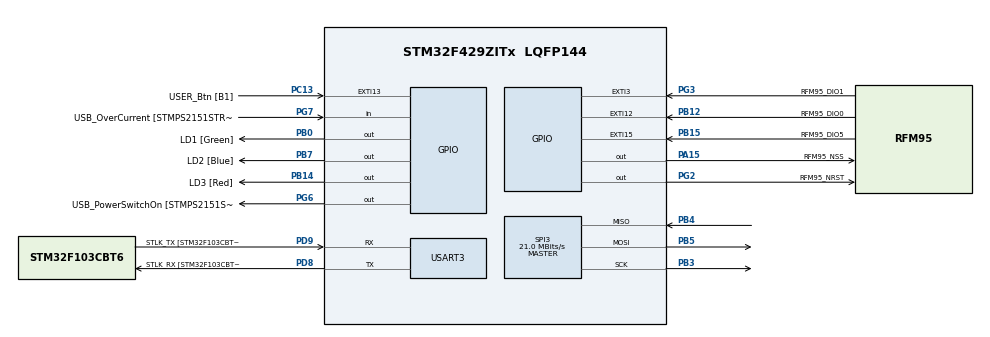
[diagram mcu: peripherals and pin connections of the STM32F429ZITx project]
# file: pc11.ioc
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Mcu.Family=STM32F4
Mcu.Name=STM32F429ZITx
Mcu.Package=LQFP144
NVIC.EXTI15_10_IRQn=true\:0\:0\:false\:false\:true\:true\:true\:true
NVIC.EXTI3_IRQn=true\:0\:0\:false\:false\:true\:true\:true\:true
NVIC.PriorityGroup=NVIC_PRIORITYGROUP_4
PA1.GPIO_Label=RMII_REF_CLK [LAN8742A-CZ-TR_REFCLK0]
PA1.Signal=ETH_REF_CLK
PA10.GPIO_Label=USB_ID
PA10.Signal=USB_OTG_FS_ID
PA11.GPIO_Label=USB_DM
PA11.Signal=USB_OTG_FS_DM
PA12.GPIO_Label=USB_DP
PA12.Signal=USB_OTG_FS_DP
PA13.GPIO_Label=TMS
PA13.Mode=Serial_Wire
PA13.Signal=SYS_JTMS-SWDIO
PA14.GPIO_Label=TCK
PA14.Mode=Serial_Wire
PA14.Signal=SYS_JTCK-SWCLK
PA15.GPIO_Label=RFM95_NSS
PA15.Signal=GPIO_Output
PA2.GPIO_Label=RMII_MDIO [LAN8742A-CZ-TR_MDIO]
PA2.Signal=ETH_MDIO
PA7.GPIO_Label=RMII_CRS_DV [LAN8742A-CZ-TR_CRS_DV]
PA7.Signal=ETH_CRS_DV
PA8.GPIO_Label=USB_SOF [TP1]
PA8.Signal=USB_OTG_FS_SOF
PA9.GPIO_Label=USB_VBUS
PA9.Signal=USB_OTG_FS_VBUS
PB0.GPIO_Label=LD1 [Green]
PB0.Signal=GPIO_Output
PB12.GPIO_Label=RFM95_DIO0 
PB12.Signal=GPXTI12
PB13.GPIO_Label=RMII_TXD1 [LAN8742A-CZ-TR_TXD1]
PB13.Signal=ETH_TXD1
PB14.GPIO_Label=LD3 [Red]
PB14.Signal=GPIO_Output
PB15.GPIO_Label=RFM95_DIO5
PB15.Signal=GPXTI15
PB3.Mode=Full_Duplex_Master
PB3.Signal=SPI3_SCK
PB4.Mode=Full_Duplex_Master
PB4.Signal=SPI3_MISO
PB5.Mode=Full_Duplex_Master
PB5.Signal=SPI3_MOSI
PB7.GPIO_Label=LD2 [Blue]
PB7.Signal=GPIO_Output
PC1.GPIO_Label=RMII_MDC [LAN8742A-CZ-TR_MDC]
PC1.Signal=ETH_MDC
PC13.GPIO_Label=USER_Btn [B1]
PC13.Signal=GPXTI13
PC14/OSC32_IN.Mode=LSE-External-Oscillator
PC14/OSC32_IN.Signal=RCC_OSC32_IN
PC15/OSC32_OUT.Mode=LSE-External-Oscillator
PC15/OSC32_OUT.Signal=RCC_OSC32_OUT
PC4.GPIO_Label=RMII_RXD0 [LAN8742A-CZ-TR_RXD0]
PC4.Signal=ETH_RXD0
PC5.GPIO_Label=RMII_RXD1 [LAN8742A-CZ-TR_RXD1]
PC5.Signal=ETH_RXD1
PD8.GPIO_Label=STLK_RX [STM32F103CBT6_PA3]
PD8.Mode=Asynchronous
PD8.Signal=USART3_TX
PD9.GPIO_Label=STLK_TX [STM32F103CBT6_PA2]
PD9.Mode=Asynchronous
PD9.Signal=USART3_RX
PG11.GPIO_Label=RMII_TX_EN [LAN8742A-CZ-TR_TXEN]
PG11.Signal=ETH_TX_EN
PG13.GPIO_Label=RMII_TXD0 [LAN8742A-CZ-TR_TXD0]
PG13.Signal=ETH_TXD0
PG2.GPIO_Label=RFM95_NRST
PG2.Signal=GPIO_Output
PG3.GPIO_Label=RFM95_DIO1 
PG3.Signal=GPXTI3
PG6.GPIO_Label=USB_PowerSwitchOn [STMPS2151STR_EN]
PG6.Signal=GPIO_Output
PG7.GPIO_Label=USB_OverCurrent [STMPS2151STR_FAULT]
PG7.Signal=GPIO_Input
PH0/OSC_IN.GPIO_Label=MCO [STM32F103CBT6_PA8]
PH0/OSC_IN.Mode=HSE-External-Clock-Source
PH0/OSC_IN.Signal=RCC_OSC_IN
PH1/OSC_OUT.Mode=HSE-External-Clock-Source
PH1/OSC_OUT.Signal=RCC_OSC_OUT
ProjectManager.HeapSize=0x200
ProjectManager.StackSize=0x400
ProjectManager.TargetToolchain=STM32CubeIDE
RCC.48MHZClocksFreq_Value=48000000
RCC.AHBFreq_Value=168000000
RCC.APB1CLKDivider=RCC_HCLK_DIV4
RCC.APB1Freq_Value=42000000
RCC.APB1TimFreq_Value=84000000
RCC.APB2CLKDivider=RCC_HCLK_DIV2
RCC.APB2Freq_Value=84000000
RCC.APB2TimCLKDivider=2
RCC.APB2TimFreq_Value=168000000
RCC.CortexFreq_Value=168000000
RCC.HCLKFreq_Value=168000000
RCC.HSE_VALUE=8000000
RCC.HSI_VALUE=16000000
RCC.PLLM=4
RCC.PLLMUL=RCC_PLL_MUL9
RCC.PLLN=168
RCC.PLLQ=7
RCC.PLLSourceVirtual=RCC_PLLSOURCE_HSE
RCC.PRESCALERUSB=RCC_USBCLKSOURCE_PLL_DIV1_5
RCC.SYSCLKFreq_VALUE=168000000
RCC.SYSCLKSource=RCC_SYSCLKSOURCE_PLLCLK
RCC.SYSCLKSourceVirtual=RCC_SYSCLKSOURCE_PLLCLK
RCC.USBFreq_Value=48000000
RCC.VCOOutputFreq_Value=336000000
SPI3.CalculateBaudRate=21.0 MBits/s
SPI3.Direction=SPI_DIRECTION_2LINES
SPI3.Mode=SPI_MODE_MASTER
SPI3.VirtualType=VM_MASTER
TIM2.Prescaler=4199
USART3.VirtualMode=VM_ASYNC
VP_RNG_VS_RNG.Mode=RNG_Activate
VP_TIM2_VS_ClockSourceINT.Mode=Internal
board=NUCLEO-F429ZI

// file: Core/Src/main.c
/* USER CODE BEGIN Header */
/**
 ******************************************************************************
 * @file           : main.c
 * @brief          : Main program body
 ******************************************************************************
 * @attention
 *
 * Copyright (c) 2025 STMicroelectronics.
 * All rights reserved.
 *
 * This software is licensed under terms that can be found in the LICENSE file
 * in the root directory of this software component.
 * If no LICENSE file comes with this software, it is provided AS-IS.
 *
 ******************************************************************************
 */
/* USER CODE END Header */
#include "main.h"

/* USER CODE BEGIN Includes */
#include "stdio.h"
#include "string.h"
#include <rfm95.h>
/* USER CODE END Includes */

RNG_HandleTypeDef hrng;

SPI_HandleTypeDef hspi3;

TIM_HandleTypeDef htim2;

UART_HandleTypeDef huart3;

void SystemClock_Config(void);
static void MX_GPIO_Init(void);
static void MX_USART3_UART_Init(void);
static void MX_RNG_Init(void);
static void MX_SPI3_Init(void);
static void MX_TIM2_Init(void);

/* USER CODE BEGIN 0 */

static uint32_t get_precision_tick()
{
	__disable_irq();
	uint32_t precision_tick = __HAL_TIM_GET_COUNTER(&htim2);
	__enable_irq();
	return precision_tick;
}

static void precision_sleep_until(uint32_t target_ticks)
{
	while (get_precision_tick() < target_ticks) { /* do nothing */ }
}

static uint8_t random_int(uint8_t max)
{
	uint32_t rng;
	HAL_RNG_GenerateRandomNumber(&hrng, &rng);
	return (rng % (max + 1));
}
rfm95_handle_t rfm95_handle = {
		.spi_handle = &hspi3,
		.nss_port = RFM95_NSS_GPIO_Port,
		.nss_pin = RFM95_NSS_Pin,
		.device_address = {
				0x26, 0x0B, 0x04, 0x75
		},
		.application_session_key = {
				0x40, 0x0A, 0xE6, 0x65, 0x1A, 0xA8, 0x92, 0x92,	0x12, 0xC0, 0x08, 0xEC, 0xC2, 0xC1, 0x53, 0x72
		},
		.network_session_key = {
				0x80, 0x70, 0x52, 0xDA, 0x22, 0x5F, 0x54, 0xC3, 0xB8, 0xDC, 0xAD, 0xA1, 0x8A, 0xF2, 0x85, 0x34
		},
		.receive_mode = RFM95_RECEIVE_MODE_NONE,
		.precision_tick_frequency = 20000,

		.get_precision_tick = get_precision_tick,
		.precision_sleep_until = precision_sleep_until,
		.random_int = random_int
};
void HAL_GPIO_EXTI_Callback(uint16_t GPIO_Pin)
{
	if (GPIO_Pin == RFM95_DIO0_Pin) {
		rfm95_on_interrupt(&rfm95_handle, RFM95_INTERRUPT_DIO0);
	} else if (GPIO_Pin == RFM95_DIO1_Pin) {
		rfm95_on_interrupt(&rfm95_handle, RFM95_INTERRUPT_DIO1);
	} else if (GPIO_Pin == RFM95_DIO5_Pin) {
		rfm95_on_interrupt(&rfm95_handle, RFM95_INTERRUPT_DIO5);
	}
}
void send(uint8_t *buffer)
{
	HAL_GPIO_WritePin(LD2_GPIO_Port, LD2_Pin, 1);
	rfm95_send_receive_cycle(&rfm95_handle, (uint8_t*)buffer, strlen(buffer));
	HAL_GPIO_WritePin(LD2_GPIO_Port, LD2_Pin, 0);

}

/* USER CODE END 0 */

int main(void)
{

	/* MCU Configuration--------------------------------------------------------*/

	/* Reset of all peripherals, Initializes the Flash interface and the Systick. */
	HAL_Init();

	/* Configure the system clock */
	SystemClock_Config();

	/* Initialize all configured peripherals */
	MX_GPIO_Init();
	MX_USART3_UART_Init();
	MX_RNG_Init();
	MX_SPI3_Init();
	MX_TIM2_Init();
	/* USER CODE BEGIN 2 */
	HAL_TIM_Base_Start(&htim2);
	if(rfm95_init(&rfm95_handle))
	{
		HAL_GPIO_WritePin(LD1_GPIO_Port, LD1_Pin, 1);

	}else{
		HAL_GPIO_WritePin(LD3_GPIO_Port, LD3_Pin, 1);
	while (1); /*loop*/
	}

		static uint16_t lastTimer = 0;
		uint16_t counter = 0;
		static uint16_t buttonTimer=0;
		char msg[30];
		char buffer[30];
		/* USER CODE END 2 */

		/* Infinite loop */
		while (1)
		{

			/* USER CODE BEGIN 3 */

			if( HAL_GPIO_ReadPin(USER_Btn_GPIO_Port,USER_Btn_Pin)&&(HAL_GetTick() - buttonTimer) > 1000)
			{
				sprintf(buffer,"246781; press");
				send(buffer);
				buttonTimer=HAL_GetTick();
			}

			if ((HAL_GetTick() - lastTimer) > 30000)
			{
				counter++;

				sprintf(msg,"246781;%i",counter);
				memcpy(buffer, msg, sizeof(msg));

				send(buffer);
				lastTimer = HAL_GetTick();
			}

		}
		/* USER CODE END 3 */
	}

	/**
	 * @brief System Clock Configuration
	 * @retval None
	 */
	void SystemClock_Config(void)
	{
		RCC_OscInitTypeDef RCC_OscInitStruct = {0};
		RCC_ClkInitTypeDef RCC_ClkInitStruct = {0};

		/** Configure the main internal regulator output voltage
		 */
		__HAL_RCC_PWR_CLK_ENABLE();
		__HAL_PWR_VOLTAGESCALING_CONFIG(PWR_REGULATOR_VOLTAGE_SCALE1);

		/** Initializes the RCC Oscillators according to the specified parameters
		 * in the RCC_OscInitTypeDef structure.
		 */
		RCC_OscInitStruct.OscillatorType = RCC_OSCILLATORTYPE_HSE;
		RCC_OscInitStruct.HSEState = RCC_HSE_BYPASS;
		RCC_OscInitStruct.PLL.PLLState = RCC_PLL_ON;
		RCC_OscInitStruct.PLL.PLLSource = RCC_PLLSOURCE_HSE;
		RCC_OscInitStruct.PLL.PLLM = 4;
		RCC_OscInitStruct.PLL.PLLN = 168;
		RCC_OscInitStruct.PLL.PLLP = RCC_PLLP_DIV2;
		RCC_OscInitStruct.PLL.PLLQ = 7;
		if (HAL_RCC_OscConfig(&RCC_OscInitStruct) != HAL_OK)
		{
			Error_Handler();
		}

		/** Initializes the CPU, AHB and APB buses clocks
		 */
		RCC_ClkInitStruct.ClockType = RCC_CLOCKTYPE_HCLK|RCC_CLOCKTYPE_SYSCLK
				|RCC_CLOCKTYPE_PCLK1|RCC_CLOCKTYPE_PCLK2;
		RCC_ClkInitStruct.SYSCLKSource = RCC_SYSCLKSOURCE_PLLCLK;
		RCC_ClkInitStruct.AHBCLKDivider = RCC_SYSCLK_DIV1;
		RCC_ClkInitStruct.APB1CLKDivider = RCC_HCLK_DIV4;
		RCC_ClkInitStruct.APB2CLKDivider = RCC_HCLK_DIV2;

		if (HAL_RCC_ClockConfig(&RCC_ClkInitStruct, FLASH_LATENCY_5) != HAL_OK)
		{
			Error_Handler();
		}
	}

	/**
	 * @brief RNG Initialization Function
	 * @param None
	 * @retval None
	 */
	static void MX_RNG_Init(void)
	{

		hrng.Instance = RNG;
		if (HAL_RNG_Init(&hrng) != HAL_OK)
		{
			Error_Handler();
		}

	}

	/**
	 * @brief SPI3 Initialization Function
	 * @param None
	 * @retval None
	 */
	static void MX_SPI3_Init(void)
	{

		/* SPI3 parameter configuration*/
		hspi3.Instance = SPI3;
		hspi3.Init.Mode = SPI_MODE_MASTER;
		hspi3.Init.Direction = SPI_DIRECTION_2LINES;
		hspi3.Init.DataSize = SPI_DATASIZE_8BIT;
		hspi3.Init.CLKPolarity = SPI_POLARITY_LOW;
		hspi3.Init.CLKPhase = SPI_PHASE_1EDGE;
		hspi3.Init.NSS = SPI_NSS_SOFT;
		hspi3.Init.BaudRatePrescaler = SPI_BAUDRATEPRESCALER_2;
		hspi3.Init.FirstBit = SPI_FIRSTBIT_MSB;
		hspi3.Init.TIMode = SPI_TIMODE_DISABLE;
		hspi3.Init.CRCCalculation = SPI_CRCCALCULATION_DISABLE;
		hspi3.Init.CRCPolynomial = 10;
		if (HAL_SPI_Init(&hspi3) != HAL_OK)
		{
			Error_Handler();
		}

	}

	/**
	 * @brief TIM2 Initialization Function
	 * @param None
	 * @retval None
	 */
	static void MX_TIM2_Init(void)
	{

		TIM_ClockConfigTypeDef sClockSourceConfig = {0};
		TIM_MasterConfigTypeDef sMasterConfig = {0};

		htim2.Instance = TIM2;
		htim2.Init.Prescaler = 4199;
		htim2.Init.CounterMode = TIM_COUNTERMODE_UP;
		htim2.Init.Period = 4294967295;
		htim2.Init.ClockDivision = TIM_CLOCKDIVISION_DIV1;
		htim2.Init.AutoReloadPreload = TIM_AUTORELOAD_PRELOAD_DISABLE;
		if (HAL_TIM_Base_Init(&htim2) != HAL_OK)
		{
			Error_Handler();
		}
		sClockSourceConfig.ClockSource = TIM_CLOCKSOURCE_INTERNAL;
		if (HAL_TIM_ConfigClockSource(&htim2, &sClockSourceConfig) != HAL_OK)
		{
			Error_Handler();
		}
		sMasterConfig.MasterOutputTrigger = TIM_TRGO_RESET;
		sMasterConfig.MasterSlaveMode = TIM_MASTERSLAVEMODE_DISABLE;
		if (HAL_TIMEx_MasterConfigSynchronization(&htim2, &sMasterConfig) != HAL_OK)
		{
			Error_Handler();
		}

	}

	/**
	 * @brief USART3 Initialization Function
	 * @param None
	 * @retval None
	 */
	static void MX_USART3_UART_Init(void)
	{

		huart3.Instance = USART3;
		huart3.Init.BaudRate = 115200;
		huart3.Init.WordLength = UART_WORDLENGTH_8B;
		huart3.Init.StopBits = UART_STOPBITS_1;
		huart3.Init.Parity = UART_PARITY_NONE;
		huart3.Init.Mode = UART_MODE_TX_RX;
		huart3.Init.HwFlowCtl = UART_HWCONTROL_NONE;
		huart3.Init.OverSampling = UART_OVERSAMPLING_16;
		if (HAL_UART_Init(&huart3) != HAL_OK)
		{
			Error_Handler();
		}

	}

	/**
	 * @brief GPIO Initialization Function
	 * @param None
	 * @retval None
	 */
	static void MX_GPIO_Init(void)
	{
		GPIO_InitTypeDef GPIO_InitStruct = {0};

		/* GPIO Ports Clock Enable */
		__HAL_RCC_GPIOC_CLK_ENABLE();
		__HAL_RCC_GPIOH_CLK_ENABLE();
		__HAL_RCC_GPIOA_CLK_ENABLE();
		__HAL_RCC_GPIOB_CLK_ENABLE();
		__HAL_RCC_GPIOD_CLK_ENABLE();
		__HAL_RCC_GPIOG_CLK_ENABLE();

		/*Configure GPIO pin Output Level */
		HAL_GPIO_WritePin(GPIOB, LD1_Pin|LD3_Pin|LD2_Pin, GPIO_PIN_RESET);

		/*Configure GPIO pin Output Level */
		HAL_GPIO_WritePin(GPIOG, RFM95_NRST_Pin|USB_PowerSwitchOn_Pin, GPIO_PIN_RESET);

		/*Configure GPIO pin Output Level */
		HAL_GPIO_WritePin(RFM95_NSS_GPIO_Port, RFM95_NSS_Pin, GPIO_PIN_RESET);

		/*Configure GPIO pin : USER_Btn_Pin */
		GPIO_InitStruct.Pin = USER_Btn_Pin;
		GPIO_InitStruct.Mode = GPIO_MODE_IT_RISING;
		GPIO_InitStruct.Pull = GPIO_NOPULL;
		HAL_GPIO_Init(USER_Btn_GPIO_Port, &GPIO_InitStruct);

		/*Configure GPIO pins : RMII_MDC_Pin RMII_RXD0_Pin RMII_RXD1_Pin */
		GPIO_InitStruct.Pin = RMII_MDC_Pin|RMII_RXD0_Pin|RMII_RXD1_Pin;
		GPIO_InitStruct.Mode = GPIO_MODE_AF_PP;
		GPIO_InitStruct.Pull = GPIO_NOPULL;
		GPIO_InitStruct.Speed = GPIO_SPEED_FREQ_VERY_HIGH;
		GPIO_InitStruct.Alternate = GPIO_AF11_ETH;
		HAL_GPIO_Init(GPIOC, &GPIO_InitStruct);

		/*Configure GPIO pins : RMII_REF_CLK_Pin RMII_MDIO_Pin RMII_CRS_DV_Pin */
		GPIO_InitStruct.Pin = RMII_REF_CLK_Pin|RMII_MDIO_Pin|RMII_CRS_DV_Pin;
		GPIO_InitStruct.Mode = GPIO_MODE_AF_PP;
		GPIO_InitStruct.Pull = GPIO_NOPULL;
		GPIO_InitStruct.Speed = GPIO_SPEED_FREQ_VERY_HIGH;
		GPIO_InitStruct.Alternate = GPIO_AF11_ETH;
		HAL_GPIO_Init(GPIOA, &GPIO_InitStruct);

		/*Configure GPIO pins : LD1_Pin LD3_Pin LD2_Pin */
		GPIO_InitStruct.Pin = LD1_Pin|LD3_Pin|LD2_Pin;
		GPIO_InitStruct.Mode = GPIO_MODE_OUTPUT_PP;
		GPIO_InitStruct.Pull = GPIO_NOPULL;
		GPIO_InitStruct.Speed = GPIO_SPEED_FREQ_LOW;
		HAL_GPIO_Init(GPIOB, &GPIO_InitStruct);

		/*Configure GPIO pins : RFM95_DIO0_Pin RFM95_DIO5_Pin */
		GPIO_InitStruct.Pin = RFM95_DIO0_Pin|RFM95_DIO5_Pin;
		GPIO_InitStruct.Mode = GPIO_MODE_IT_RISING;
		GPIO_InitStruct.Pull = GPIO_NOPULL;
		HAL_GPIO_Init(GPIOB, &GPIO_InitStruct);

		/*Configure GPIO pin : RMII_TXD1_Pin */
		GPIO_InitStruct.Pin = RMII_TXD1_Pin;
		GPIO_InitStruct.Mode = GPIO_MODE_AF_PP;
		GPIO_InitStruct.Pull = GPIO_NOPULL;
		GPIO_InitStruct.Speed = GPIO_SPEED_FREQ_VERY_HIGH;
		GPIO_InitStruct.Alternate = GPIO_AF11_ETH;
		HAL_GPIO_Init(RMII_TXD1_GPIO_Port, &GPIO_InitStruct);

		/*Configure GPIO pins : RFM95_NRST_Pin USB_PowerSwitchOn_Pin */
		GPIO_InitStruct.Pin = RFM95_NRST_Pin|USB_PowerSwitchOn_Pin;
		GPIO_InitStruct.Mode = GPIO_MODE_OUTPUT_PP;
		GPIO_InitStruct.Pull = GPIO_NOPULL;
		GPIO_InitStruct.Speed = GPIO_SPEED_FREQ_LOW;
		HAL_GPIO_Init(GPIOG, &GPIO_InitStruct);

		/*Configure GPIO pin : RFM95_DIO1_Pin */
		GPIO_InitStruct.Pin = RFM95_DIO1_Pin;
		GPIO_InitStruct.Mode = GPIO_MODE_IT_RISING;
		GPIO_InitStruct.Pull = GPIO_NOPULL;
		HAL_GPIO_Init(RFM95_DIO1_GPIO_Port, &GPIO_InitStruct);

		/*Configure GPIO pin : USB_OverCurrent_Pin */
		GPIO_InitStruct.Pin = USB_OverCurrent_Pin;
		GPIO_InitStruct.Mode = GPIO_MODE_INPUT;
		GPIO_InitStruct.Pull = GPIO_NOPULL;
		HAL_GPIO_Init(USB_OverCurrent_GPIO_Port, &GPIO_InitStruct);

		/*Configure GPIO pins : USB_SOF_Pin USB_ID_Pin USB_DM_Pin USB_DP_Pin */
		GPIO_InitStruct.Pin = USB_SOF_Pin|USB_ID_Pin|USB_DM_Pin|USB_DP_Pin;
		GPIO_InitStruct.Mode = GPIO_MODE_AF_PP;
		GPIO_InitStruct.Pull = GPIO_NOPULL;
		GPIO_InitStruct.Speed = GPIO_SPEED_FREQ_VERY_HIGH;
		GPIO_InitStruct.Alternate = GPIO_AF10_OTG_FS;
		HAL_GPIO_Init(GPIOA, &GPIO_InitStruct);

		/*Configure GPIO pin : USB_VBUS_Pin */
		GPIO_InitStruct.Pin = USB_VBUS_Pin;
		GPIO_InitStruct.Mode = GPIO_MODE_INPUT;
		GPIO_InitStruct.Pull = GPIO_NOPULL;
		HAL_GPIO_Init(USB_VBUS_GPIO_Port, &GPIO_InitStruct);

		/*Configure GPIO pin : RFM95_NSS_Pin */
		GPIO_InitStruct.Pin = RFM95_NSS_Pin;
		GPIO_InitStruct.Mode = GPIO_MODE_OUTPUT_PP;
		GPIO_InitStruct.Pull = GPIO_NOPULL;
		GPIO_InitStruct.Speed = GPIO_SPEED_FREQ_LOW;
		HAL_GPIO_Init(RFM95_NSS_GPIO_Port, &GPIO_InitStruct);

		/*Configure GPIO pins : RMII_TX_EN_Pin RMII_TXD0_Pin */
		GPIO_InitStruct.Pin = RMII_TX_EN_Pin|RMII_TXD0_Pin;
		GPIO_InitStruct.Mode = GPIO_MODE_AF_PP;
		GPIO_InitStruct.Pull = GPIO_NOPULL;
		GPIO_InitStruct.Speed = GPIO_SPEED_FREQ_VERY_HIGH;
		GPIO_InitStruct.Alternate = GPIO_AF11_ETH;
		HAL_GPIO_Init(GPIOG, &GPIO_InitStruct);

		/* EXTI interrupt init*/
		HAL_NVIC_SetPriority(EXTI3_IRQn, 0, 0);
		HAL_NVIC_EnableIRQ(EXTI3_IRQn);

		HAL_NVIC_SetPriority(EXTI15_10_IRQn, 0, 0);
		HAL_NVIC_EnableIRQ(EXTI15_10_IRQn);

	}

	/**
	 * @brief  This function is executed in case of error occurrence.
	 * @retval None
	 */
	void Error_Handler(void)
	{
		__disable_irq();
		while (1)
		{
		}
	}
